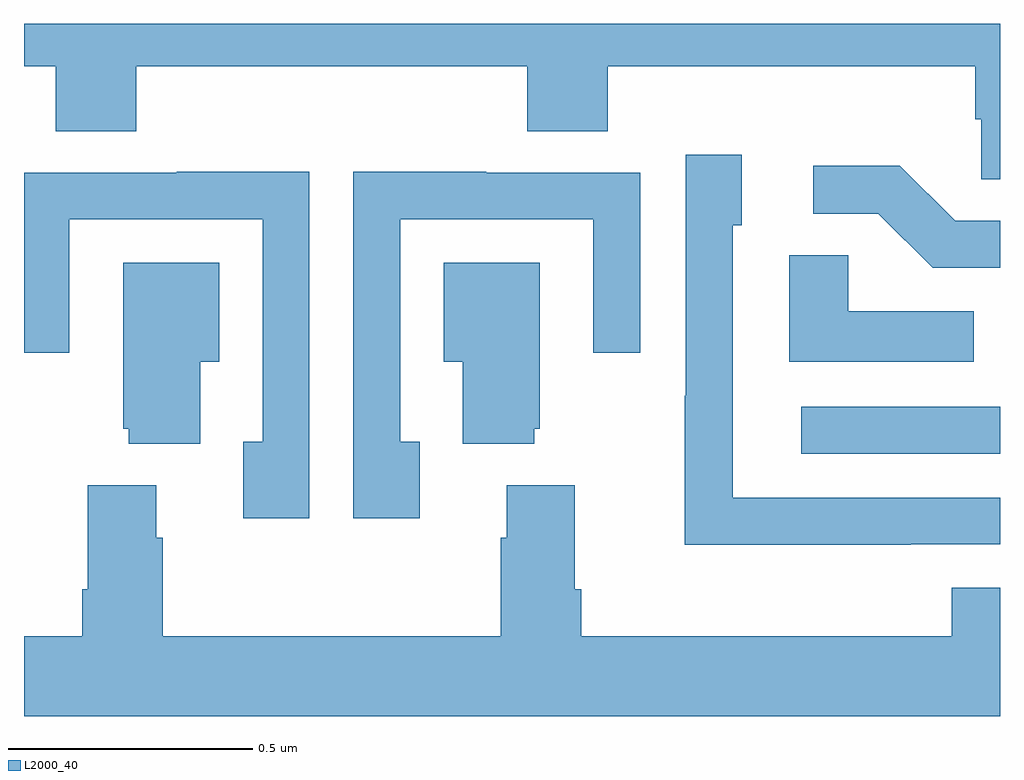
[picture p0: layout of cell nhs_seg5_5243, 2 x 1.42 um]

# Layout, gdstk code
import gdstk
lib = gdstk.Library(unit=1e-6, precision=1e-09)
def R(c, l, rs):  # rectangles x0, y0, x1, y1
    for r in rs: c.add(gdstk.rectangle(r[:2], r[2:], *l))
def P(c, l, *ps):  # polygons
    for p in ps: c.add(gdstk.Polygon(p, *l))
L2000_40 = (2000, 40)

nhs_seg5_5243 = lib.new_cell('nhs_seg5_5243')
R(nhs_seg5_5243, L2000_40, [(181.593,903.918,182,904.014)])
P(nhs_seg5_5243, L2000_40, [(180,904.712),(180.065,904.712),(180.065,904.579),(180.23,904.579),(180.23,904.712),(181.031,904.712),(181.031,904.579),(181.196,904.579),(181.196,904.712),(181.949,904.712),(181.949,904.603),(181.962,904.603),(181.962,904.48),(182,904.48),(182,904.799),(180,904.799)],
  [(181.817,903.732),(182,903.732),(182,903.828),(181.452,903.828),(181.452,904.386),(181.471,904.386),(181.471,904.531),(181.356,904.531),(181.356,904.037),(181.354,904.037),(181.354,903.731),(181.817,903.731)],
  [(182,904.395),(181.908,904.395),(181.795,904.508),(181.617,904.508),(181.617,904.41),(181.751,904.41),(181.862,904.299),(182,904.299)],
  [(180.585,904.496),(180.313,904.496),(180.313,904.494),(180,904.494),(180,904.125),(180.093,904.125),(180.093,904.398),(180.489,904.398),(180.489,903.942),(180.449,903.942),(180.449,903.786),(180.585,903.786)],
  [(180.811,903.942),(180.771,903.942),(180.771,904.398),(181.167,904.398),(181.167,904.125),(181.263,904.125),(181.263,904.494),(180.947,904.494),(180.947,904.496),(180.675,904.496),(180.675,903.786),(180.811,903.786)],
  [(181.946,904.21),(181.689,904.21),(181.689,904.325),(181.568,904.325),(181.568,904.106),(181.946,904.106)],
  [(181.046,903.969),(181.057,903.969),(181.057,904.309),(180.86,904.309),(180.86,904.106),(180.899,904.106),(180.899,903.938),(181.046,903.938)],
  [(180.361,904.106),(180.4,904.106),(180.4,904.309),(180.203,904.309),(180.203,903.969),(180.215,903.969),(180.215,903.938),(180.361,903.938)],
  [(182,903.643),(181.901,903.643),(181.901,903.544),(181.142,903.544),(181.142,903.64),(181.129,903.64),(181.129,903.853),(180.989,903.853),(180.989,903.746),(180.977,903.746),(180.977,903.544),(180.284,903.544),(180.284,903.746),(180.271,903.746),(180.271,903.853),(180.131,903.853),(180.131,903.64),(180.119,903.64),(180.119,903.544),(180,903.544),(180,903.38),(182,903.38)])

lib.write_gds('nhs_seg5_5243.gds')
